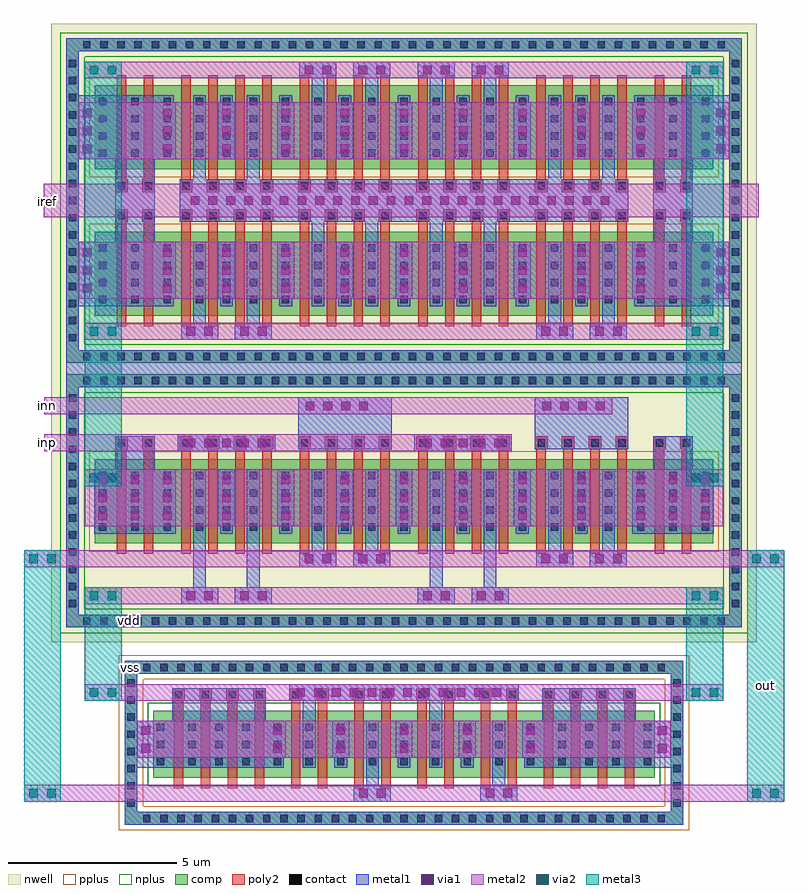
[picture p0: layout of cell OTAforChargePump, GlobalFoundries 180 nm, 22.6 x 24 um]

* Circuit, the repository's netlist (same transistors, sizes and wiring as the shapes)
** sch_path: /foss/designs/libs/qw_core_analog/OTAforChargePump/OTAforChargePump.sch
.subckt OTAforChargePump vdd iref inp inn out vss
*.PININFO inp:B inn:B vdd:B vss:B out:B iref:B
XM8 iref iref vdd vdd pfet_03v3 L=0.28u W=10u nf=4 m=4
XM1 net1 iref vdd vdd pfet_03v3 L=0.28u W=10u nf=4 m=4
XM2 net2 inp net1 vdd pfet_03v3 L=0.28u W=10u nf=4 m=2
XM3 out inn net1 vdd pfet_03v3 L=0.28u W=10u nf=4 m=2
XM4 net2 net2 vss vss nfet_03v3 L=0.28u W=4u nf=2 m=2
XM5 out net2 vss vss nfet_03v3 L=0.28u W=4u nf=2 m=2
XM6 vdd vdd vdd vdd pfet_03v3 L=0.28u W=5u nf=2 m=4
XM7 vss vss vss vss nfet_03v3 L=0.28u W=8u nf=4 m=2
XM9 net1 net1 net1 vdd pfet_03v3 L=0.28u W=5u nf=2 m=2
.ends

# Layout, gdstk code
import gdstk
lib = gdstk.Library(unit=1e-6, precision=5e-09)
def R(c, l, rs):  # rectangles x0, y0, x1, y1
    for r in rs: c.add(gdstk.rectangle(r[:2], r[2:], *l))
def A(c, l, x, y, w, h, nx, ny, dx, dy):  # array of equal rectangles
    R(c, l, [(x+i*dx, y+j*dy, x+i*dx+w, y+j*dy+h) for i in range(nx) for j in range(ny)])
nwell = (21, 0)
comp = (22, 0)
poly2 = (30, 0)
pplus = (31, 0)
nplus = (32, 0)
contact = (33, 0)
metal1 = (34, 0)
via1 = (35, 0)
metal2 = (36, 0)
via2 = (38, 0)
metal3 = (42, 0)

pfet_1 = lib.new_cell('pfet$1')
R(pfet_1, nwell, [(-0.9,-0.44,3.96,2.94)])
R(pfet_1, comp, [(-0.46,0,0,2.5), (0,0,3.06,2.5), (3.06,0,3.52,2.5)])
A(pfet_1, poly2, 0.14, -0.68, 0.38, 0.38, 4, 1, 0.8, 0)
A(pfet_1, poly2, 0.19, -0.3, 0.28, 3.1, 4, 1, 0.8, 0)
R(pfet_1, pplus, [(-0.63,-0.24,3.69,2.74)])
A(pfet_1, contact, 0.22, -0.6, 0.22, 0.22, 4, 1, 0.8, 0)
A(pfet_1, contact, -0.34, 0.375, 0.22, 0.22, 1, 4, 0, 0.51)
A(pfet_1, contact, 0.62, 0.375, 0.22, 0.22, 3, 4, 0.8, 0.51)
A(pfet_1, contact, 3.18, 0.375, 0.22, 0.22, 1, 4, 0, 0.51)
A(pfet_1, metal1, 0.14, -0.68, 0.38, 0.38, 4, 1, 0.8, 0)
A(pfet_1, metal1, 0.54, 0.295, 0.38, 1.91, 3, 1, 0.8, 0)
R(pfet_1, metal1, [(-0.42,0.295,-0.04,2.205), (3.1,0.295,3.48,2.205)])

nfet = lib.new_cell('nfet')
R(nfet, comp, [(-0.42,0,0,2), (0,0,1.46,2), (1.46,0,1.88,2)])
R(nfet, poly2, [(0.15,-0.66,0.51,-0.3), (0.95,-0.66,1.31,-0.3), (0.19,-0.3,0.47,2.3), (0.99,-0.3,1.27,2.3)])
R(nfet, nplus, [(-0.59,-0.24,2.05,2.24)])
A(nfet, contact, -0.32, 0.38, 0.22, 0.22, 3, 3, 0.94, 0.51)
R(nfet, contact, [(0.22,-0.59,0.44,-0.37), (1.02,-0.59,1.24,-0.37)])
A(nfet, metal1, -0.4, 0.3, 0.38, 1.4, 3, 1, 0.94, 0)
R(nfet, metal1, [(0.14,-0.67,0.52,-0.29), (0.94,-0.67,1.32,-0.29)])

via_dev = lib.new_cell('via_dev')
R(via_dev, metal1, [(0,0,13.1,0.5)])
A(via_dev, via1, 0.325, 0.12, 0.26, 0.26, 24, 1, 0.53, 0)
R(via_dev, metal2, [(0,0,13.1,0.5)])

via_dev_4 = lib.new_cell('via_dev$4')
R(via_dev_4, metal1, [(0,0,6.5,0.5)])
A(via_dev_4, via1, 0.205, 0.12, 0.26, 0.26, 12, 1, 0.53, 0)
R(via_dev_4, metal2, [(0,0,6.5,0.5)])

via_dev_6 = lib.new_cell('via_dev$6')
R(via_dev_6, metal1, [(0,0,0.5,1.7)])
A(via_dev_6, via1, 0.12, 0.19, 0.26, 0.26, 1, 3, 0, 0.53)
R(via_dev_6, metal2, [(0,0,0.5,1.7)])

via_dev_10 = lib.new_cell('via_dev$10')
R(via_dev_10, metal1, [(0,0,0.5,1.1)])
R(via_dev_10, via1, [(0.12,0.155,0.38,0.415), (0.12,0.685,0.38,0.945)])
R(via_dev_10, metal2, [(0,0,0.5,1.1)])

via_dev_1 = lib.new_cell('via_dev$1')
R(via_dev_1, metal1, [(0,0,1.1,0.5)])
R(via_dev_1, via1, [(0.155,0.12,0.415,0.38), (0.685,0.12,0.945,0.38)])
R(via_dev_1, metal2, [(0,0,1.1,0.5)])

via_dev_2 = lib.new_cell('via_dev$2')
R(via_dev_2, metal1, [(0,0,2.3,0.5)])
A(via_dev_2, via1, 0.225, 0.12, 0.26, 0.26, 4, 1, 0.53, 0)
R(via_dev_2, metal2, [(0,0,2.3,0.5)])

pfet_2 = lib.new_cell('pfet$2')
R(pfet_2, nwell, [(-0.9,-0.44,2.36,2.94)])
R(pfet_2, comp, [(-0.46,0,0,2.5), (0,0,1.46,2.5), (1.46,0,1.92,2.5)])
R(pfet_2, poly2, [(0.14,-0.68,0.52,-0.3), (0.94,-0.68,1.32,-0.3), (0.19,-0.3,0.47,2.8), (0.99,-0.3,1.27,2.8)])
R(pfet_2, pplus, [(-0.63,-0.24,2.09,2.74)])
A(pfet_2, contact, -0.34, 0.375, 0.22, 0.22, 3, 4, 0.96, 0.51)
R(pfet_2, contact, [(0.22,-0.6,0.44,-0.38), (1.02,-0.6,1.24,-0.38)])
A(pfet_2, metal1, -0.42, 0.295, 0.38, 1.91, 3, 1, 0.96, 0)
R(pfet_2, metal1, [(0.14,-0.68,0.52,-0.3), (0.94,-0.68,1.32,-0.3)])

via_dev_8 = lib.new_cell('via_dev$8')
R(via_dev_8, metal2, [(0,0,1.1,0.5)])
R(via_dev_8, via2, [(0.155,0.12,0.415,0.38), (0.685,0.12,0.945,0.38)])
R(via_dev_8, metal3, [(0,0,1.1,0.5)])

nfet_1 = lib.new_cell('nfet$1')
R(nfet_1, comp, [(-0.42,0,0,2), (0,0,3.06,2), (3.06,0,3.48,2)])
A(nfet_1, poly2, 0.15, -0.66, 0.36, 0.36, 4, 1, 0.8, 0)
A(nfet_1, poly2, 0.19, -0.3, 0.28, 2.6, 4, 1, 0.8, 0)
R(nfet_1, nplus, [(-0.59,-0.24,3.65,2.24)])
A(nfet_1, contact, 0.22, -0.59, 0.22, 0.22, 4, 1, 0.8, 0)
A(nfet_1, contact, -0.32, 0.38, 0.22, 0.22, 1, 3, 0, 0.51)
A(nfet_1, contact, 0.62, 0.38, 0.22, 0.22, 3, 3, 0.8, 0.51)
A(nfet_1, contact, 3.16, 0.38, 0.22, 0.22, 1, 3, 0, 0.51)
A(nfet_1, metal1, 0.14, -0.67, 0.38, 0.38, 4, 1, 0.8, 0)
A(nfet_1, metal1, 0.54, 0.3, 0.38, 1.4, 3, 1, 0.8, 0)
R(nfet_1, metal1, [(-0.4,0.3,-0.02,1.7), (3.08,0.3,3.46,1.7)])

via_dev_3 = lib.new_cell('via_dev$3')
R(via_dev_3, metal1, [(0,0,2.9,0.5)])
A(via_dev_3, via1, 0.26, 0.12, 0.26, 0.26, 5, 1, 0.53, 0)
R(via_dev_3, metal2, [(0,0,2.9,0.5)])

otaforchargepump = lib.new_cell('OTAforChargePump')
R(otaforchargepump, nwell, [(-3.28,-7.8,17.7,10.595)])
R(otaforchargepump, pplus, [(-1.27,-13.4,-0.55,-8.19), (-0.55,-13.4,15.69,-12.68), (14.97,-13.4,15.69,-8.19), (-0.55,-8.91,15.69,-8.19)])
R(otaforchargepump, nplus, [(-3.01,-7.53,-2.29,0.335), (-2.29,-7.53,16.71,-6.81), (16.71,-7.53,17.43,0.335), (-2.29,-0.385,16.71,0.335), (-3.01,0.335,-2.29,10.325), (-2.29,0.335,16.71,1.055), (16.71,0.335,17.43,10.325), (-2.29,9.605,16.71,10.325)])
A(otaforchargepump, contact, -0.55, -13.15, 0.22, 0.22, 31, 2, 0.51, 4.49)
A(otaforchargepump, contact, -1.02, -12.69, 0.22, 0.22, 1, 8, 0, 0.51)
A(otaforchargepump, contact, 15.22, -12.69, 0.22, 0.22, 1, 8, 0, 0.51)
A(otaforchargepump, contact, -2.335, -7.28, 0.22, 0.22, 38, 2, 0.51, 7.145)
A(otaforchargepump, contact, -2.76, -6.765, 0.22, 0.22, 1, 13, 0, 0.51)
A(otaforchargepump, contact, 16.96, -6.765, 0.22, 0.22, 1, 13, 0, 0.51)
A(otaforchargepump, contact, -2.335, 0.585, 0.22, 0.22, 38, 2, 0.51, 9.27)
A(otaforchargepump, contact, -2.76, 1.14, 0.22, 0.22, 1, 17, 0, 0.51)
A(otaforchargepump, contact, 16.96, 1.14, 0.22, 0.22, 1, 17, 0, 0.51)
R(otaforchargepump, metal1, [(-1.1,-13.23,-0.72,-8.36), (-0.72,-13.23,15.52,-12.85), (15.14,-12.85,15.52,-8.36), (6.08,-12.04,6.46,-11.54), (9.84,-12.04,10.22,-11.54), (-0.72,-11.54,3.26,-10.14), (11.16,-11.54,15.14,-10.14), (0.32,-10.14,3.1,-9.17), (4.2,-10.14,4.58,-9.55), (7.96,-10.14,8.34,-9.55), (11.32,-10.14,14.1,-9.17), (4.18,-9.55,10.24,-9.17), (10.3,-9.17,10.62,-9.05), (-0.72,-8.74,15.14,-8.36), (-2.84,-7.36,-2.46,0.165), (-2.46,-7.36,17.26,-6.98), (16.88,-7.02,17.26,0.165), (0.94,-6.17,1.32,-4.57), (2.54,-6.17,2.92,-4.57), (7.98,-6.17,8.36,-4.57), (9.58,-6.17,9.96,-4.57), (4.46,-5.07,4.84,-4.57), (6.06,-5.07,6.44,-4.57), (11.5,-5.07,11.88,-4.57), (13.1,-5.07,13.48,-4.57), (-2,-4.57,0.42,-2.66), (14,-4.57,16.42,-2.66), (-1.38,-2.66,-0.2,-1.685), (14.62,-2.66,15.8,-1.685), (4.06,-2.065,6.84,-0.525), (11.1,-2.065,13.88,-0.525), (-2.46,-0.215,16.88,0.165), (-2.84,0.165,17.26,0.505), (-2.84,0.505,-2.46,10.155), (-2.46,0.505,17.26,0.885), (16.88,0.885,17.26,10.155), (0.94,1.695,1.32,2.195), (2.54,1.695,2.92,2.195), (11.5,1.695,11.88,2.195), (13.1,1.695,13.48,2.195), (-2.46,2.195,-0.02,4.105), (14.44,2.195,16.88,4.105), (-1.38,4.105,-0.2,5.08), (4.46,4.105,4.84,4.7), (6.06,4.105,6.44,4.7), (7.98,4.105,8.36,4.7), (9.58,4.105,9.96,4.7), (14.62,4.105,15.8,5.08), (0.54,4.7,13.88,5.96), (-1.38,5.08,-0.2,5.58), (14.62,5.08,15.8,5.58), (-1.38,5.58,-0.2,6.555), (14.62,5.58,15.8,6.555), (0.94,5.96,1.32,6.555), (2.54,5.96,2.92,6.56), (11.5,5.96,11.88,6.555), (13.1,5.96,13.48,6.56), (-2.46,6.555,-0.02,8.465), (14.44,6.555,16.88,8.465), (4.46,8.465,4.84,8.965), (6.06,8.465,6.44,8.965), (7.98,8.465,8.36,8.965), (9.58,8.465,9.96,8.965), (-2.46,9.775,16.88,10.155)])
R(otaforchargepump, metal2, [(-4.09,-12.54,18.51,-12.04), (-0.22,-11.24,14.64,-10.14), (-2.29,-9.55,16.71,-9.05), (-2.29,-6.67,16.71,-6.17), (-4.09,-5.57,18.51,-5.07), (-2.29,-4.36,16.71,-2.66), (-3.49,-2.125,10.42,-1.625), (-3.495,-1.025,13.4,-0.525), (-2.29,1.195,16.71,1.695), (-1.96,2.405,16.38,4.105), (-3.5,4.83,17.755,5.83), (-1.96,6.555,16.38,8.255), (-2.29,8.965,16.71,9.465)])
R(otaforchargepump, metal3, [(-4.09,-12.54,-2.99,-5.07), (17.41,-12.54,18.51,-5.07), (-2.29,-9.55,-1.19,-6.67), (15.61,-9.55,16.71,-6.67), (-2.29,-2.66,-1.19,8.965), (15.61,-2.66,16.71,8.965)])
otaforchargepump.add(gdstk.FlexPath([(-2.65,9.965),(-2.65,0.695),(17.07,0.695),(17.07,9.965),(-2.84,9.965)], 0.38, ends="flush", simple_path=True, layer=22, datatype=0))  # comp
otaforchargepump.add(gdstk.FlexPath([(-2.65,0.165),(-2.65,-7.17),(17.07,-7.17),(17.07,-0.025),(-2.84,-0.025)], 0.38, ends="flush", simple_path=True, layer=22, datatype=0))  # comp
otaforchargepump.add(gdstk.FlexPath([(-0.91,-8.36),(-0.91,-13.04),(15.33,-13.04),(15.33,-8.55),(-0.91,-8.55)], 0.38, ends="flush", simple_path=True, layer=22, datatype=0))  # comp
otaforchargepump.add(gdstk.Reference(pfet_1, (3.92,6.26)))
otaforchargepump.add(gdstk.Reference(pfet_1, (3.92,4.4), x_reflection=True))
otaforchargepump.add(gdstk.Reference(nfet, (5.54,-9.84), x_reflection=True))
otaforchargepump.add(gdstk.Reference(nfet, (7.42,-9.84), x_reflection=True))
otaforchargepump.add(gdstk.Reference(pfet_1, (3.92,-2.365), x_reflection=True))
otaforchargepump.add(gdstk.Reference(pfet_1, (7.44,-2.365), x_reflection=True))
otaforchargepump.add(gdstk.Reference(via_dev, (0.54,5.08)))
otaforchargepump.add(gdstk.Reference(pfet_1, (7.44,6.26)))
otaforchargepump.add(gdstk.Reference(pfet_1, (7.44,4.4), x_reflection=True))
otaforchargepump.add(gdstk.Reference(via_dev_4, (3.8,-9.05), x_reflection=True))
otaforchargepump.add(gdstk.Reference(via_dev_6, (6.96,-4.36)))
otaforchargepump.add(gdstk.Reference(via_dev_10, (6.96,-11.24)))
otaforchargepump.add(gdstk.Reference(via_dev_6, (6.96,2.405)))
otaforchargepump.add(gdstk.Reference(via_dev_6, (6.96,6.555)))
otaforchargepump.add(gdstk.Reference(via_dev_1, (12.74,1.195)))
otaforchargepump.add(gdstk.Reference(via_dev_1, (7.62,9.465), x_reflection=True))
otaforchargepump.add(gdstk.Reference(via_dev_1, (9.22,9.465), x_reflection=True))
otaforchargepump.add(gdstk.Reference(via_dev_2, (11.1,-0.525), x_reflection=True))
otaforchargepump.add(gdstk.Reference(pfet_2, (14.48,6.26)))
otaforchargepump.add(gdstk.Reference(pfet_2, (14.48,4.4), x_reflection=True))
otaforchargepump.add(gdstk.Reference(via_dev_8, (15.61,1.195)))
otaforchargepump.add(gdstk.Reference(via_dev_8, (15.61,8.965)))
otaforchargepump.add(gdstk.Reference(pfet_1, (10.96,6.26)))
otaforchargepump.add(gdstk.Reference(pfet_1, (10.96,4.4), x_reflection=True))
otaforchargepump.add(gdstk.Reference(via_dev_6, (8.72,2.405)))
otaforchargepump.add(gdstk.Reference(via_dev_6, (10.48,2.405)))
otaforchargepump.add(gdstk.Reference(via_dev_6, (12.24,2.405)))
otaforchargepump.add(gdstk.Reference(via_dev_6, (14,2.405)))
otaforchargepump.add(gdstk.Reference(via_dev_6, (16.38,2.405)))
otaforchargepump.add(gdstk.Reference(via_dev_1, (11.14,1.195)))
otaforchargepump.add(gdstk.Reference(via_dev_6, (8.72,6.555)))
otaforchargepump.add(gdstk.Reference(via_dev_6, (10.48,6.555)))
otaforchargepump.add(gdstk.Reference(via_dev_6, (12.24,6.555)))
otaforchargepump.add(gdstk.Reference(via_dev_6, (14,6.555)))
otaforchargepump.add(gdstk.Reference(via_dev_6, (16.38,6.555)))
otaforchargepump.add(gdstk.Reference(via_dev_6, (1.68,2.405)))
otaforchargepump.add(gdstk.Reference(via_dev_6, (3.44,2.405)))
otaforchargepump.add(gdstk.Reference(via_dev_6, (5.2,2.405)))
otaforchargepump.add(gdstk.Reference(pfet_2, (-1.52,4.4), x_reflection=True))
otaforchargepump.add(gdstk.Reference(via_dev_1, (0.58,1.195)))
otaforchargepump.add(gdstk.Reference(via_dev_2, (4.06,-0.525), x_reflection=True))
otaforchargepump.add(gdstk.Reference(via_dev_1, (2.18,1.195)))
otaforchargepump.add(gdstk.Reference(via_dev_1, (4.1,9.465), x_reflection=True))
otaforchargepump.add(gdstk.Reference(via_dev_6, (-2.46,2.405)))
otaforchargepump.add(gdstk.Reference(via_dev_1, (5.7,9.465), x_reflection=True))
otaforchargepump.add(gdstk.Reference(via_dev_6, (-0.08,6.555)))
otaforchargepump.add(gdstk.Reference(via_dev_6, (1.68,6.555)))
otaforchargepump.add(gdstk.Reference(via_dev_6, (3.44,6.555)))
otaforchargepump.add(gdstk.Reference(via_dev_6, (5.2,6.555)))
otaforchargepump.add(gdstk.Reference(via_dev_8, (-2.29,1.195)))
otaforchargepump.add(gdstk.Reference(via_dev_8, (-2.29,8.965)))
otaforchargepump.add(gdstk.Reference(pfet_1, (0.4,4.4), x_reflection=True))
otaforchargepump.add(gdstk.Reference(pfet_2, (-1.52,6.26)))
otaforchargepump.add(gdstk.Reference(pfet_1, (0.4,6.26)))
otaforchargepump.add(gdstk.Reference(via_dev_6, (-2.46,6.555)))
otaforchargepump.add(gdstk.Reference(via_dev_6, (-0.08,2.405)))
otaforchargepump.add(gdstk.Reference(via_dev_10, (3.2,-11.24)))
otaforchargepump.add(gdstk.Reference(via_dev_10, (-0.72,-11.24)))
otaforchargepump.add(gdstk.Reference(via_dev_1, (0.58,-6.67)))
otaforchargepump.add(gdstk.Reference(via_dev_1, (2.18,-6.67)))
otaforchargepump.add(gdstk.Reference(via_dev_1, (5.72,-12.54)))
otaforchargepump.add(gdstk.Reference(pfet_2, (-1.52,-2.365), x_reflection=True))
otaforchargepump.add(gdstk.Reference(via_dev_6, (-2,-4.36)))
otaforchargepump.add(gdstk.Reference(via_dev_6, (-0.08,-4.36)))
otaforchargepump.add(gdstk.Reference(via_dev_6, (1.68,-4.36)))
otaforchargepump.add(gdstk.Reference(via_dev_6, (3.44,-4.36)))
otaforchargepump.add(gdstk.Reference(via_dev_6, (5.2,-4.36)))
otaforchargepump.add(gdstk.Reference(nfet_1, (0.18,-9.84), x_reflection=True))
otaforchargepump.add(gdstk.Reference(via_dev_6, (-1.04,-4.36)))
otaforchargepump.add(gdstk.Reference(via_dev_3, (0.48,-1.625), x_reflection=True))
otaforchargepump.add(gdstk.Reference(pfet_1, (0.4,-2.365), x_reflection=True))
otaforchargepump.add(gdstk.Reference(via_dev_8, (-2.29,-3.16)))
otaforchargepump.add(gdstk.Reference(nfet, (3.66,-9.84), x_reflection=True))
otaforchargepump.add(gdstk.Reference(via_dev_1, (4.1,-5.57)))
otaforchargepump.add(gdstk.Reference(via_dev_8, (-2.29,-6.67)))
otaforchargepump.add(gdstk.Reference(via_dev_8, (-2.29,-9.55)))
otaforchargepump.add(gdstk.Reference(via_dev_8, (-4.09,-5.57)))
otaforchargepump.add(gdstk.Reference(via_dev_8, (-4.09,-12.54)))
otaforchargepump.add(gdstk.Reference(via_dev_1, (5.7,-5.57)))
otaforchargepump.add(gdstk.Reference(via_dev_10, (5.08,-11.24)))
otaforchargepump.add(gdstk.Reference(via_dev_6, (12.24,-4.36)))
otaforchargepump.add(gdstk.Reference(via_dev_6, (14,-4.36)))
otaforchargepump.add(gdstk.Reference(via_dev_1, (9.22,-6.67)))
otaforchargepump.add(gdstk.Reference(via_dev_6, (14.96,-4.36)))
otaforchargepump.add(gdstk.Reference(via_dev_6, (15.92,-4.36)))
otaforchargepump.add(gdstk.Reference(nfet, (9.3,-9.84), x_reflection=True))
otaforchargepump.add(gdstk.Reference(via_dev_1, (9.48,-12.54)))
otaforchargepump.add(gdstk.Reference(via_dev_1, (11.14,-5.57)))
otaforchargepump.add(gdstk.Reference(via_dev_8, (15.61,-3.16)))
otaforchargepump.add(gdstk.Reference(via_dev_1, (12.74,-5.57)))
otaforchargepump.add(gdstk.Reference(nfet_1, (11.18,-9.84), x_reflection=True))
otaforchargepump.add(gdstk.Reference(via_dev_8, (15.61,-6.67)))
otaforchargepump.add(gdstk.Reference(pfet_2, (14.48,-2.365), x_reflection=True))
otaforchargepump.add(gdstk.Reference(via_dev_8, (15.61,-9.55)))
otaforchargepump.add(gdstk.Reference(via_dev_3, (7.52,-1.625), x_reflection=True))
otaforchargepump.add(gdstk.Reference(pfet_1, (10.96,-2.365), x_reflection=True))
otaforchargepump.add(gdstk.Reference(via_dev_1, (7.62,-6.67)))
otaforchargepump.add(gdstk.Reference(via_dev_8, (17.41,-12.54)))
otaforchargepump.add(gdstk.Reference(via_dev_8, (17.41,-5.57)))
otaforchargepump.add(gdstk.Reference(via_dev_6, (8.72,-4.36)))
otaforchargepump.add(gdstk.Reference(via_dev_6, (10.48,-4.36)))
otaforchargepump.add(gdstk.Reference(via_dev_10, (8.84,-11.24)))
otaforchargepump.add(gdstk.Reference(via_dev_10, (10.72,-11.24)))
otaforchargepump.add(gdstk.Reference(via_dev_10, (14.64,-11.24)))
otaforchargepump.add(gdstk.Label('iref', (-3.385,5.315), layer=36, texttype=10))
otaforchargepump.add(gdstk.Label('inn', (-3.38,-0.77), layer=36, texttype=10))
otaforchargepump.add(gdstk.Label('inp', (-3.395,-1.875), layer=36, texttype=10))
otaforchargepump.add(gdstk.Label('vdd', (-0.945,-7.17), layer=34, texttype=10))
otaforchargepump.add(gdstk.Label('vss', (-0.91,-8.555), layer=34, texttype=10))
otaforchargepump.add(gdstk.Label('out', (17.96,-9.09), layer=42, texttype=10))

lib.write_gds('OTAforChargePump.gds')
